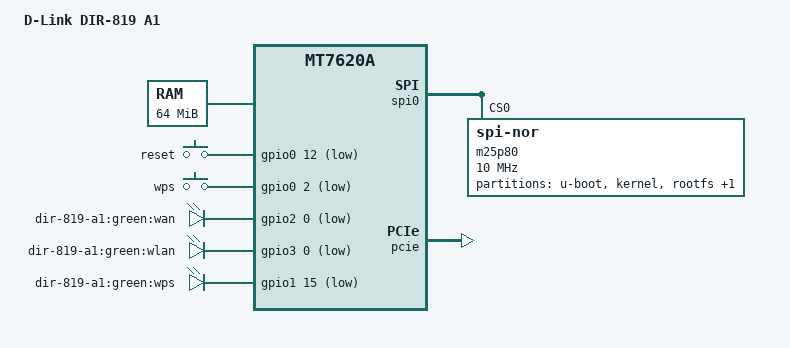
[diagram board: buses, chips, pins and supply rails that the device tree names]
/dts-v1/;
#include "mt7620a.dtsi"
#include <dt-bindings/gpio/gpio.h>
#include <dt-bindings/input/input.h>

/ {
	compatible = "dlink,dir-819-a1", "ralink,mt7620a-soc";
	model = "D-Link DIR-819 A1";

  chosen {
    bootargs = "console=ttyS0,115200";
  };

  memory@0 {
		device_type = "memory";
		reg = <0x0 0x4000000>;
	};

	gpio-keys-polled {
		compatible = "gpio-keys-polled";
		#address-cells = <1>;
		#size-cells = <0>;
		poll-interval = <20>;

		reset {
			label = "reset";
			gpios = <&gpio0 12 GPIO_ACTIVE_LOW>;
			linux,code = <KEY_RESTART>;
		};

		wps {
			label = "wps";
			gpios = <&gpio0 2 GPIO_ACTIVE_LOW>;
			linux,code = <KEY_WPS_BUTTON>;
		};
	};

	gpio-leds {
		compatible = "gpio-leds";

		wan {
			label = "dir-819-a1:green:wan";
			gpios = <&gpio2 0 GPIO_ACTIVE_LOW>;
		};

		wlan {
			label = "dir-819-a1:green:wlan";
			gpios = <&gpio3 0 GPIO_ACTIVE_LOW>;
		};

		wps {
			label = "dir-819-a1:green:wps";
			gpios = <&gpio1 15 GPIO_ACTIVE_LOW>;
		};
	};
};

&gpio0 {
	status = "okay";
};
&gpio1 {
	status = "okay";
};
&gpio2 {
	status = "okay";
};
&gpio3 {
	status = "okay";
};

&spi0 {
	status = "okay";

	m25p80@0 {
		#address-cells = <1>;
		#size-cells = <1>;
		compatible = "jedec,spi-nor";
		reg = <0>;
		spi-max-frequency = <10000000>;

		partition@0 {
			label = "u-boot";
			reg = <0x0 0x30000>;
			read-only;
		};

		partition@30000 {
			label = "kernel";
			reg = <0x30000 0x1d0000>;
		};

		partition@200000 {
			label = "rootfs";
			reg = <0x200000 0x5e0000>;
		};

		factory: partition@7e0000 {
      label = "factory";
      reg = <0x7e0000 0x20000>;
			read-only;
    };

    partition {
			label = "firmware";
			reg = <0x30000 0x7b0000>;
		};

	};
};

&pinctrl {
	state_default: pinctrl0 {
		gpio {
			ralink,group = "i2c", "uartf", "wled", "ephy", "spi refclk";
			ralink,function = "gpio";
		};
	};
};

&ethernet {
  pinctrl-names = "default";
  mediatek,portmap = "llllw";
};


&gsw {
	mediatek,port4 = "ephy";
};

&pcie {
	status = "okay";
};
